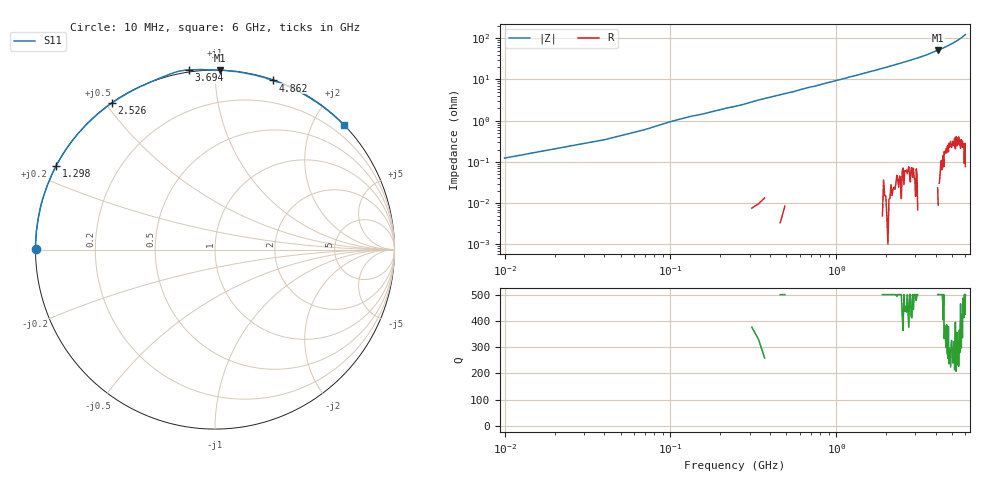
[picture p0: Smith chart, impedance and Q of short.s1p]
!Keysight Technologies,N5222B,MY58421855,A.13.65.03
!Date: Tuesday, September 29, 2020 17:04:42
!Correction: S11(Full 1 Port(1))
!S1P File: Measurement: S11:
# Hz S  RI  R 50
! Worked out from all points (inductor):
!   201 points, 10 MHz to 6 GHz, reference 50 ohm
!   read as one part to ground: L = 1.38 nH near 39.95 MHz
!   highest Q = 1.73e+03 at 4.113 GHz (marker M1), where L = 1.99 nH
!   S11 on the Smith chart (normalised r, x): 10 MHz: 0.00, +0.00; 1.298 GHz: -0.00, +0.25; 2.526 GHz: 0.00, +0.52; 3.694 GHz: -0.01, +0.87; 4.862 GHz: 0.01, +1.40; 6 GHz: 0.00, +2.47
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1e7  -0.9968 0.00378
2.7955e8  -0.9956 0.1009
3.9935e8  -0.9889 0.1491
7.5875e8  -0.9616 0.2775
1.17805e9  -0.904 0.4294
1.29785e9  -0.8859 0.4669
1.5075e9  -0.8449 0.5367
1.9867e9  -0.7331 0.6793
2.25625e9  -0.6563 0.7536
2.5258e9  -0.5749 0.8155
2.7654e9  -0.4963 0.8665
3.005e9  -0.4157 0.9091
3.39435e9  -0.2761 0.9675
3.5441e9  -0.2107 0.991
3.69385e9  -0.1442 1.001
3.75375e9  -0.1164 1.003
3.8436e9  -0.0752 1.004
4.11315e9  0.0295 0.9994
4.5025e9  0.185 0.9801
4.8619e9  0.3236 0.9422
5.1015e9  0.4178 0.9053
5.25125e9  0.4686 0.8793
5.31115e9  0.4937 0.8661
5.5208e9  0.5636 0.8233
5.5807e9  0.5885 0.8058
5.73045e9  0.6321 0.7723
5.79035e9  0.655 0.7536
6e9  0.718 0.6954
